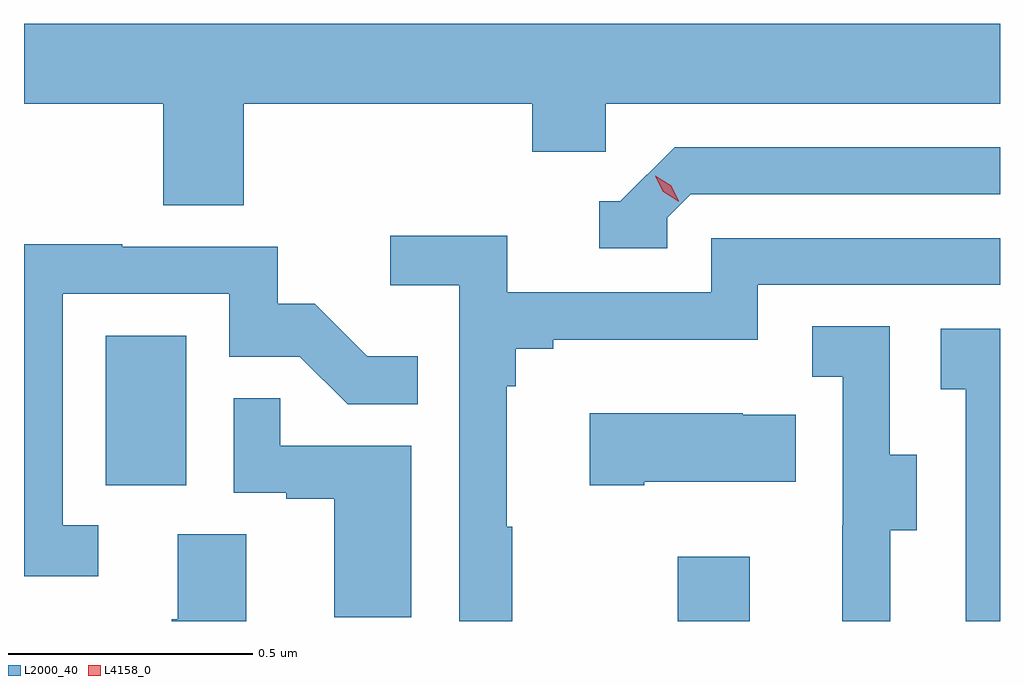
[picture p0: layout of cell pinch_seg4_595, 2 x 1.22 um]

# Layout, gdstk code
import gdstk
lib = gdstk.Library(unit=1e-6, precision=1e-09)
def R(c, l, rs):  # rectangles x0, y0, x1, y1
    for r in rs: c.add(gdstk.rectangle(r[:2], r[2:], *l))
def P(c, l, *ps):  # polygons
    for p in ps: c.add(gdstk.Polygon(p, *l))
L2000_40 = (2000, 40)
L4158_0 = (4158, 0)

pinch_seg4_595 = lib.new_cell('pinch_seg4_595')
R(pinch_seg4_595, L2000_40, [(1054.714,785.104,1054.861,785.236), (1053.542,785.382,1053.706,785.689)])
P(pinch_seg4_595, L2000_40, [(1053.824,786.164),(1054.415,786.164),(1054.415,786.066),(1054.566,786.066),(1054.566,786.164),(1055.374,786.164),(1055.374,786.328),(1053.374,786.328),(1053.374,786.164),(1053.659,786.164),(1053.659,785.956),(1053.824,785.956)],
  [(1054.692,785.931),(1054.74,785.979),(1055.374,785.979),(1055.374,786.075),(1054.707,786.075),(1054.596,785.964),(1054.553,785.964),(1054.553,785.868),(1054.692,785.868)],
  [(1054.375,785.297),(1054.363,785.297),(1054.363,785.585),(1054.382,785.585),(1054.382,785.662),(1054.459,785.662),(1054.459,785.681),(1054.878,785.681),(1054.878,785.793),(1055.374,785.793),(1055.374,785.889),(1054.782,785.889),(1054.782,785.778),(1054.364,785.778),(1054.364,785.894),(1054.125,785.894),(1054.125,785.792),(1054.266,785.792),(1054.266,785.104),(1054.375,785.104)],
  [(1053.526,785.301),(1053.453,785.301),(1053.453,785.775),(1053.795,785.775),(1053.795,785.646),(1053.939,785.646),(1054.037,785.548),(1054.181,785.548),(1054.181,785.647),(1054.077,785.647),(1053.97,785.754),(1053.894,785.754),(1053.894,785.871),(1053.575,785.871),(1053.575,785.876),(1053.374,785.876),(1053.374,785.196),(1053.526,785.196)],
  [(1055.149,785.29),(1055.203,785.29),(1055.203,785.445),(1055.148,785.445),(1055.148,785.708),(1054.989,785.708),(1054.989,785.605),(1055.052,785.605),(1055.052,785.301),(1055.051,785.301),(1055.051,785.104),(1055.149,785.104)],
  [(1055.374,785.703),(1055.253,785.703),(1055.253,785.579),(1055.304,785.579),(1055.304,785.104),(1055.374,785.104)],
  [(1054.168,785.463),(1053.899,785.463),(1053.899,785.561),(1053.804,785.561),(1053.804,785.367),(1053.911,785.367),(1053.911,785.355),(1054.01,785.355),(1054.01,785.112),(1054.168,785.112)],
  [(1054.645,785.39),(1054.955,785.39),(1054.955,785.527),(1054.847,785.527),(1054.847,785.53),(1054.533,785.53),(1054.533,785.383),(1054.645,785.383)],
  [(1053.829,785.282),(1053.689,785.282),(1053.689,785.108),(1053.677,785.108),(1053.677,785.104),(1053.829,785.104)])
P(pinch_seg4_595, L4158_0, [(1054.715,785.964),(1054.684,785.984),(1054.668,786.016),(1054.668,786.017),(1054.668,786.017),(1054.699,785.997),(1054.716,785.965),(1054.716,785.964)])

lib.write_gds('pinch_seg4_595.gds')
